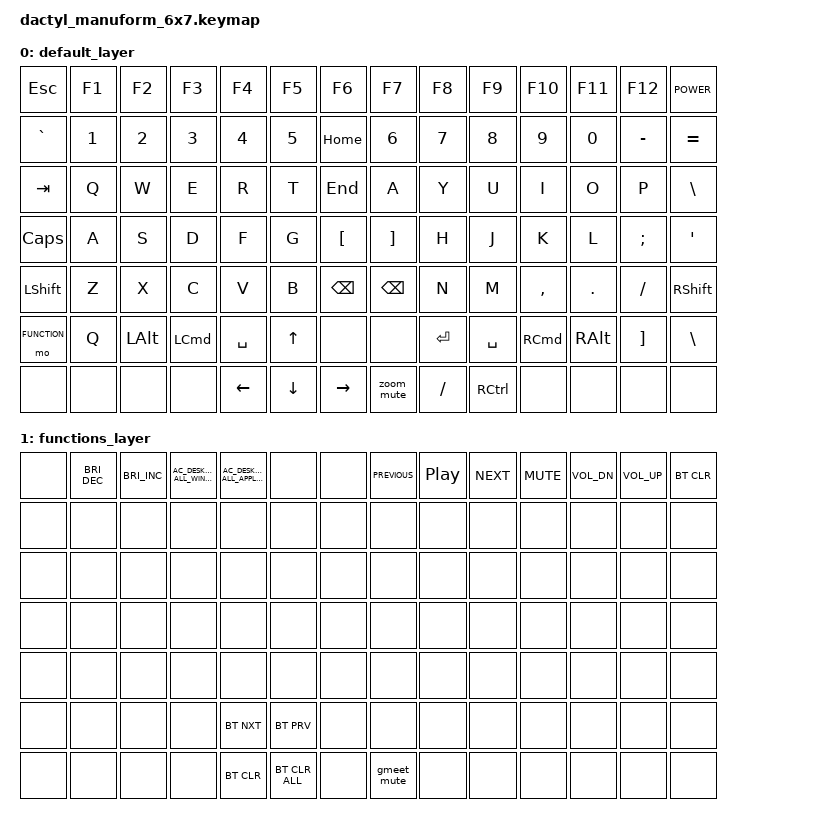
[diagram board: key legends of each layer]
/*
 * Copyright (c) 2020 The ZMK Contributors
 *
 * SPDX-License-Identifier: MIT
 */

#include <behaviors.dtsi>
#include <dt-bindings/zmk/keys.h>
#include <dt-bindings/zmk/bt.h>

#define DEFAULT 0
#define FUNCTION 1

/ {
 keymap {
  compatible = "zmk,keymap";

  default_layer {
    bindings = <
    &kp ESC       &kp F1   &kp F2    &kp F3    &kp F4      &kp F5    &kp F6         &kp F7     &kp F8      &kp F9      &kp F10    &kp F11    &kp F12     &kp C_POWER 
    &kp GRAVE     &kp N1   &kp N2    &kp N3    &kp N4      &kp N5    &kp HOME       &kp N6     &kp N7      &kp N8      &kp N9     &kp N0     &kp MINUS   &kp EQUAL
    &kp TAB       &kp Q    &kp W     &kp E     &kp R       &kp T     &kp END        &kp A      &kp Y       &kp U       &kp I      &kp O      &kp P       &kp BSLH 
    &kp CAPS      &kp A    &kp S     &kp D     &kp F       &kp G     &kp LBKT       &kp RBKT   &kp H       &kp J       &kp K      &kp L      &kp SEMI    &kp APOS 
    &kp LSHFT     &kp Z    &kp X     &kp C     &kp V       &kp B     &kp BSPC       &kp BSPC   &kp N       &kp M       &kp COMMA  &kp DOT    &kp SLASH   &kp RSHIFT 
    &mo FUNCTION  &kp Q    &kp LALT  &kp LCMD  &kp SPACE   &kp UP    &none          &none      &kp ENTER   &kp SPACE   &kp RCMD   &kp RALT   &kp RBKT    &kp BSLH
    &none         &none    &none     &none     &kp LEFT    &kp DOWN  &kp RIGHT      &zoom_mute &kp SLASH   &kp RCTRL   &none      &none      &none       &none   
    >;
  };
  
  functions_layer {
    bindings = <
    &none  &kp C_BRIGHTNESS_DEC &kp C_BRIGHTNESS_INC  &kp C_AC_DESKTOP_SHOW_ALL_WINDOWS &kp C_AC_DESKTOP_SHOW_ALL_APPLICATIONS  &none          &none &kp C_PREVIOUS  &kp C_PLAY_PAUSE  &kp C_NEXT  &kp C_MUTE  &kp C_VOL_DN  &kp C_VOL_UP  &bt BT_CLR  
    &none  &none                &none                 &none                             &none                                   &none          &none &none           &none             &none       &none       &none         &none         &none
    &none  &none                &none                 &none                             &none                                   &none          &none &none           &none             &none       &none       &none         &none         &none 
    &none  &none                &none                 &none                             &none                                   &none          &none &none           &none             &none       &none       &none         &none         &none 
    &none  &none                &none                 &none                             &none                                   &none          &none &none           &none             &none       &none       &none         &none         &none 
    &none  &none                &none                 &none                             &bt BT_NXT                              &bt BT_PRV     &none &none           &none             &none       &none       &none         &none         &none
    &none  &none                &none                 &none                             &bt BT_CLR                              &bt BT_CLR_ALL &none &gmeet_mute     &none             &none       &none       &none         &none         &none   
    >;
  };
 };

 macros {
        zoom_mute: zoom_mute {
            compatible = "zmk,behavior-macro";
            #binding-cells = <0>;
   
   wait-ms = <40>;
   tap-ms = <40>;
            bindings
                = <&macro_press &kp LCMD>
    , <&macro_press &kp LSHFT>
                , <&macro_tap &kp A>
                , <&macro_release &kp LSHFT>
    , <&macro_release &kp LCMD>
                ;
        };
        
  gmeet_mute: gmeet_mute {
            compatible = "zmk,behavior-macro";
            #binding-cells = <0>;
   
   wait-ms = <40>;
   tap-ms = <40>;
            bindings
                = <&macro_press &kp LCMD>
                , <&macro_tap &kp D>
    , <&macro_release &kp LCMD>
                ;
        };
    };
};
